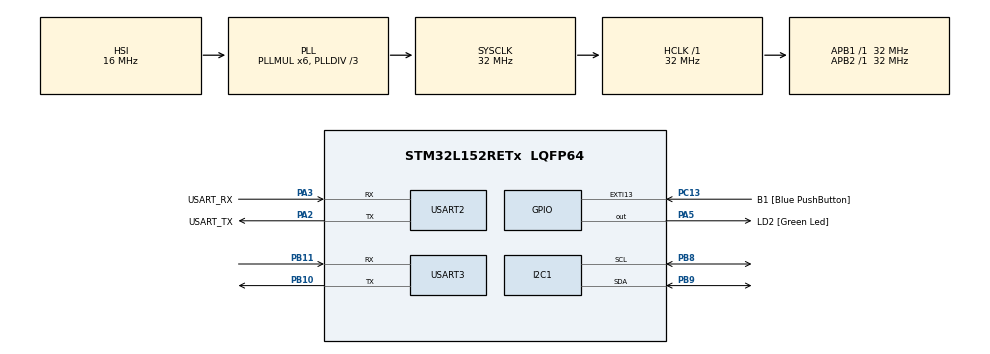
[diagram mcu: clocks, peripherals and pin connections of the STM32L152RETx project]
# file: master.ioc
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Mcu.Family=STM32L1
Mcu.Name=STM32L152RETx
Mcu.Package=LQFP64
NVIC.PriorityGroup=NVIC_PRIORITYGROUP_0
PA13.GPIO_Label=TMS
PA13.Mode=Serial_Wire
PA13.Signal=SYS_JTMS-SWDIO
PA14.GPIO_Label=TCK
PA14.Mode=Serial_Wire
PA14.Signal=SYS_JTCK-SWCLK
PA2.GPIO_Label=USART_TX
PA2.Mode=Asynchronous
PA2.Signal=USART2_TX
PA3.GPIO_Label=USART_RX
PA3.Mode=Asynchronous
PA3.Signal=USART2_RX
PA5.GPIO_Label=LD2 [Green Led]
PA5.Signal=GPIO_Output
PB10.Mode=Asynchronous
PB10.Signal=USART3_TX
PB11.Mode=Asynchronous
PB11.Signal=USART3_RX
PB3.GPIO_Label=SWO
PB3.Signal=SYS_JTDO-TRACESWO
PB8.Mode=I2C
PB8.Signal=I2C1_SCL
PB9.Mode=I2C
PB9.Signal=I2C1_SDA
PC13-WKUP2.GPIO_Label=B1 [Blue PushButton]
PC13-WKUP2.Signal=GPXTI13
PC14-OSC32_IN.Mode=LSE-External-Oscillator
PC14-OSC32_IN.Signal=RCC_OSC32_IN
PC15-OSC32_OUT.Mode=LSE-External-Oscillator
PC15-OSC32_OUT.Signal=RCC_OSC32_OUT
PH0-OSC_IN.Mode=HSE-External-Clock-Source
PH0-OSC_IN.Signal=RCC_OSC_IN
PH1-OSC_OUT.Signal=RCC_OSC_OUT
ProjectManager.HeapSize=0x200
ProjectManager.StackSize=0x400
ProjectManager.TargetToolchain=Other Toolchains (GPDSC)
RCC.48MHZClocksFreq_Value=48000000
RCC.AHBFreq_Value=32000000
RCC.APB1Freq_Value=32000000
RCC.APB1TimFreq_Value=32000000
RCC.APB2Freq_Value=32000000
RCC.APB2TimFreq_Value=32000000
RCC.HCLKFreq_Value=32000000
RCC.HSE_VALUE=8000000
RCC.HSI_VALUE=16000000
RCC.MSI_VALUE=2097000
RCC.PLLDIV=RCC_PLL_DIV3
RCC.PLLMUL=RCC_PLL_MUL6
RCC.RTCClockSelectionVirtual=RCC_RTCCLKSOURCE_LSE
RCC.SYSCLKFreq_VALUE=32000000
RCC.SYSCLKSource=RCC_SYSCLKSOURCE_PLLCLK
RCC.USBOutput=48000000
RCC.VCOOutputFreq_Value=96000000
USART2.VirtualMode=VM_ASYNC
USART3.VirtualMode=VM_ASYNC
board=NUCLEO-L152RE

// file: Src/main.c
/* USER CODE BEGIN Header */
/**
 ******************************************************************************
 * @file           : main.c
 * @brief          : Main program body
 ******************************************************************************
 * @attention
 *
 * <h2><center>&copy; Copyright (c) 2021 STMicroelectronics.
 * All rights reserved.</center></h2>
 *
 * This software component is licensed by ST under BSD 3-Clause license,
 * the "License"; You may not use this file except in compliance with the
 * License. You may obtain a copy of the License at:
 *                        opensource.org/licenses/BSD-3-Clause
 *
 ******************************************************************************
 */
/* USER CODE END Header */
#include "main.h"
#include <stdlib.h>

/* App task start */
#define APP_TASK_START_STK_SIZE 128u                     /* Task Stack Size */
#define APP_TASK_START_PRIO 1u                           /* Task Priority */
static OS_TCB AppTaskStartTCB;                           /* Task Control Block */
static CPU_STK AppTaskStartStk[APP_TASK_START_STK_SIZE]; /* Task Stack */
static void AppTaskStart(void *p_arg);

/* Distance Calculation Task */
#define LCD_TASK_STK_SIZE 128u            /* Task Stack Size */
#define LCD_TASK_PRIO 2u                  /* Task Priority */
static OS_TCB LCDTCB;                     /* Task Control Block */
static CPU_STK LCDStk[LCD_TASK_STK_SIZE]; /* Task Stack */
static void LCDDisplay(void *p_arg);

/* Semaphore */
OS_SEM sem;
void SystemClock_Config(void);

int main(void)
{
  /* To store error code */
  OS_ERR os_err;

  /* Initialize uC/OS-III */
  OSInit(&os_err);

  if (os_err != OS_ERR_NONE)
  {
    while (DEF_TRUE)
      ;
  }

  OSSemCreate(
      (OS_SEM *)&sem,
      (CPU_CHAR *)"Semaphore",
      (OS_SEM_CTR)0,
      (OS_ERR *)&os_err);

  OSTaskCreate(
      /* pointer to task control block */
      (OS_TCB *)&AppTaskStartTCB,
      /* task name can be displayed by debuggers */
      (CPU_CHAR *)"App Task Start",
      /* pointer to the task */
      (OS_TASK_PTR)AppTaskStart,
      /* pointer to an OPTIONAL data area */
      (void *)0,
      /* task priority: the lower the number, the higher the priority */
      (OS_PRIO)APP_TASK_START_PRIO,
      /* pointer to task's stack base addr */
      (CPU_STK *)&AppTaskStartStk[0],
      /* task's stack limit to monitor and ensure that the stack
       * doesn't overflow (10%) */
      (CPU_STK_SIZE)APP_TASK_START_STK_SIZE / 10,
      /* task's stack size */
      (CPU_STK_SIZE)APP_TASK_START_STK_SIZE,
      /* max number of message that the task can receive through
       * internal message queue (5) */
      (OS_MSG_QTY)5u,
      /* amount of clock ticks for the time quanta
       * when round robin is enabled */
      (OS_TICK)0u,
      /* pointer to an OPTIONAL user-supplied memory location
       * use as a TCB extension */
      (void *)0,
      /* contain task-specific option
       * OS_OPT_TASK_STK_CHK: allow stack checking
       * OS_OPT_TASK_STK_CLR: stack needs to be cleared */
      (OS_OPT)(OS_OPT_TASK_STK_CHK | OS_OPT_TASK_STK_CLR),
      /* pointer to a variable that will receive an error code */
      (OS_ERR *)&os_err);

  if (os_err != OS_ERR_NONE)
  {
    while (DEF_TRUE)
      ;
  }

  /* Start Mulitasking */
  OSStart(&os_err);
}
/* USER CODE END 0 */

/* USER CODE END 3 */

void SystemClock_Config(void)
{
  RCC_OscInitTypeDef RCC_OscInitStruct = {0};
  RCC_ClkInitTypeDef RCC_ClkInitStruct = {0};

  /** Configure the main internal regulator output voltage
   */
  __HAL_PWR_VOLTAGESCALING_CONFIG(PWR_REGULATOR_VOLTAGE_SCALE1);
  /** Initializes the RCC Oscillators according to the specified parameters
   * in the RCC_OscInitTypeDef structure.
   */
  RCC_OscInitStruct.OscillatorType = RCC_OSCILLATORTYPE_HSI;
  RCC_OscInitStruct.HSIState = RCC_HSI_ON;
  RCC_OscInitStruct.HSICalibrationValue = RCC_HSICALIBRATION_DEFAULT;
  RCC_OscInitStruct.PLL.PLLState = RCC_PLL_ON;
  RCC_OscInitStruct.PLL.PLLSource = RCC_PLLSOURCE_HSI;
  RCC_OscInitStruct.PLL.PLLMUL = RCC_PLL_MUL6;
  RCC_OscInitStruct.PLL.PLLDIV = RCC_PLL_DIV3;
  if (HAL_RCC_OscConfig(&RCC_OscInitStruct) != HAL_OK)
  {
    Error_Handler();
  }
  /** Initializes the CPU, AHB and APB buses clocks
   */
  RCC_ClkInitStruct.ClockType = RCC_CLOCKTYPE_HCLK | RCC_CLOCKTYPE_SYSCLK | RCC_CLOCKTYPE_PCLK1 | RCC_CLOCKTYPE_PCLK2;
  RCC_ClkInitStruct.SYSCLKSource = RCC_SYSCLKSOURCE_PLLCLK;
  RCC_ClkInitStruct.AHBCLKDivider = RCC_SYSCLK_DIV1;
  RCC_ClkInitStruct.APB1CLKDivider = RCC_HCLK_DIV1;
  RCC_ClkInitStruct.APB2CLKDivider = RCC_HCLK_DIV1;

  if (HAL_RCC_ClockConfig(&RCC_ClkInitStruct, FLASH_LATENCY_1) != HAL_OK)
  {
    Error_Handler();
  }
}

/* USER CODE BEGIN 4 */
static void AppTaskStart(void *p_arg)
{
  OS_ERR os_err;

  HAL_Init();
  SystemClock_Config();

  MX_GPIO_Init();
  MX_USART2_UART_Init();
  MX_USART3_UART_Init();
  MX_I2C1_Init();
  lcd_init();
  lcd_clear();
  OSTaskCreate(
      (OS_TCB *)&LCDTCB,
      (CPU_CHAR *)"LCD Display",
      (OS_TASK_PTR)LCDDisplay,
      (void *)0,
      (OS_PRIO)LCD_TASK_PRIO,
      (CPU_STK *)&LCDStk[0],
      (CPU_STK_SIZE)LCD_TASK_STK_SIZE / 10,
      (CPU_STK_SIZE)LCD_TASK_STK_SIZE,
      (OS_MSG_QTY)5u,
      (OS_TICK)0u,
      (void *)0,
      (OS_OPT)(OS_OPT_TASK_STK_CHK | OS_OPT_TASK_STK_CLR),
      (OS_ERR *)&os_err);
//      while(1);
}

static void LCDDisplay(void *p_arg)
{
  OS_ERR os_err;
  uint16_t buf=0;
  char msg[6];
    lcd_put_cur(0, 7);
    lcd_send_string(" people");

  while (DEF_TRUE)
  {
    /* USER CODE END WHILE */
    HAL_UART_Receive(&huart3, (uint8_t *)msg, 5, 100);

    msg[5]='\0';
    lcd_put_cur(0, 0);
    lcd_send_string(msg);
    HAL_UART_Transmit(&huart2, (uint8_t *)msg, sizeof(msg), 100);

     buf = atoi(msg);
      if (buf > 0)
      {
        lcd_put_cur(1, 0);
        lcd_send_string("LED ON");
        lcd_send_string(" ");
      }
      else
      {
        lcd_put_cur(1, 0);
        lcd_send_string("LED OFF");
      }

    OSTimeDlyHMSM(0, 0, 1, 0, OS_OPT_TIME_HMSM_STRICT, &os_err);

    /* USER CODE BEGIN 3 */
  }
}
/* USER CODE END 4 */

void Error_Handler(void)
{
  __disable_irq();
  while (1)
  {
  }
}

/************************ (C) COPYRIGHT STMicroelectronics *****END OF FILE****/
